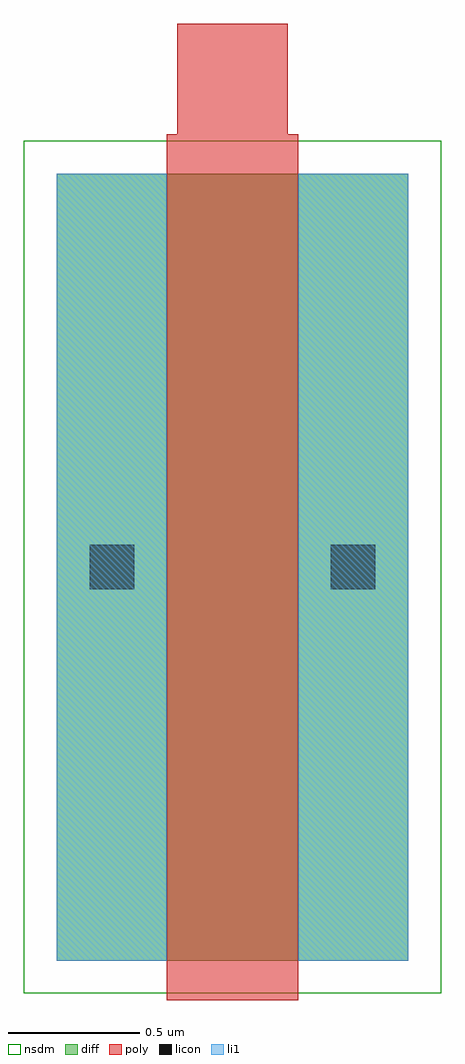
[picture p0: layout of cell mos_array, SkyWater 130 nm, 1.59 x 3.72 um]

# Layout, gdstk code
import gdstk
lib = gdstk.Library(unit=1e-6, precision=1e-09)
def R(c, l, rs):  # rectangles x0, y0, x1, y1
    for r in rs: c.add(gdstk.rectangle(r[:2], r[2:], *l))
diff = (65, 20)
poly = (66, 20)
licon = (66, 44)
li1 = (67, 20)
nsdm = (93, 44)

mos_array = lib.new_cell('mos_array')
R(mos_array, diff, [(0,0,1.34,3)])
R(mos_array, poly, [(0.42,-0.15,0.92,3), (0.42,3,0.92,3.15), (0.42,3,0.92,3.15), (0.46,3.15,0.88,3.57)])
R(mos_array, licon, [(0.125,1.415,0.295,1.585), (1.045,1.415,1.215,1.585)])
R(mos_array, li1, [(0,0,0.42,3), (0.92,0,1.34,3)])
R(mos_array, nsdm, [(-0.125,-0.125,1.465,3.125)])

lib.write_gds('mos_array.gds')
